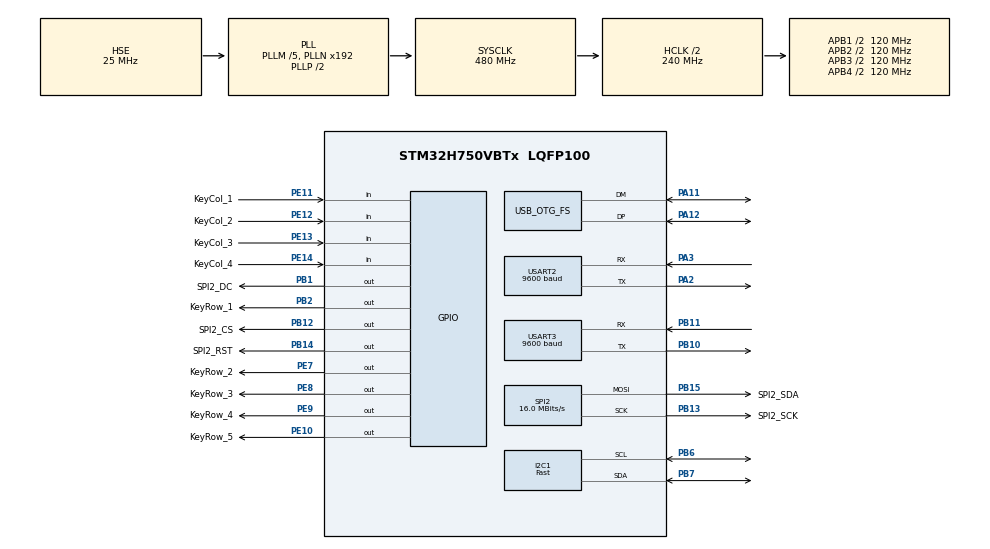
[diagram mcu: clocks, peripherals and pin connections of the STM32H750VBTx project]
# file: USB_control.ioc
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CORTEX_M7.default_mode_Activation=1
Dma.Request0=USART2_RX
Dma.Request1=USART2_TX
Dma.Request2=USART3_RX
Dma.Request3=USART3_TX
Dma.Request4=SPI2_TX
Dma.SPI2_TX.4.Direction=DMA_MEMORY_TO_PERIPH
Dma.SPI2_TX.4.EventEnable=DISABLE
Dma.SPI2_TX.4.FIFOMode=DMA_FIFOMODE_DISABLE
Dma.SPI2_TX.4.Instance=DMA1_Stream5
Dma.SPI2_TX.4.MemDataAlignment=DMA_MDATAALIGN_BYTE
Dma.SPI2_TX.4.MemInc=DMA_MINC_ENABLE
Dma.SPI2_TX.4.Mode=DMA_NORMAL
Dma.SPI2_TX.4.PeriphDataAlignment=DMA_PDATAALIGN_BYTE
Dma.SPI2_TX.4.PeriphInc=DMA_PINC_DISABLE
Dma.SPI2_TX.4.Polarity=HAL_DMAMUX_REQ_GEN_RISING
Dma.SPI2_TX.4.Priority=DMA_PRIORITY_HIGH
Dma.SPI2_TX.4.RequestNumber=1
Dma.SPI2_TX.4.SignalID=NONE
Dma.SPI2_TX.4.SyncEnable=DISABLE
Dma.SPI2_TX.4.SyncPolarity=HAL_DMAMUX_SYNC_NO_EVENT
Dma.SPI2_TX.4.SyncRequestNumber=1
Dma.SPI2_TX.4.SyncSignalID=NONE
Dma.USART2_RX.0.Direction=DMA_PERIPH_TO_MEMORY
Dma.USART2_RX.0.EventEnable=DISABLE
Dma.USART2_RX.0.FIFOMode=DMA_FIFOMODE_DISABLE
Dma.USART2_RX.0.Instance=DMA1_Stream1
Dma.USART2_RX.0.MemDataAlignment=DMA_MDATAALIGN_BYTE
Dma.USART2_RX.0.MemInc=DMA_MINC_ENABLE
Dma.USART2_RX.0.Mode=DMA_CIRCULAR
Dma.USART2_RX.0.PeriphDataAlignment=DMA_PDATAALIGN_BYTE
Dma.USART2_RX.0.PeriphInc=DMA_PINC_DISABLE
Dma.USART2_RX.0.Polarity=HAL_DMAMUX_REQ_GEN_RISING
Dma.USART2_RX.0.Priority=DMA_PRIORITY_HIGH
Dma.USART2_RX.0.RequestNumber=1
Dma.USART2_RX.0.SignalID=NONE
Dma.USART2_RX.0.SyncEnable=DISABLE
Dma.USART2_RX.0.SyncPolarity=HAL_DMAMUX_SYNC_NO_EVENT
Dma.USART2_RX.0.SyncRequestNumber=1
Dma.USART2_RX.0.SyncSignalID=NONE
Dma.USART2_TX.1.Direction=DMA_MEMORY_TO_PERIPH
Dma.USART2_TX.1.EventEnable=DISABLE
Dma.USART2_TX.1.FIFOMode=DMA_FIFOMODE_DISABLE
Dma.USART2_TX.1.Instance=DMA1_Stream2
Dma.USART2_TX.1.MemDataAlignment=DMA_MDATAALIGN_BYTE
Dma.USART2_TX.1.MemInc=DMA_MINC_ENABLE
Dma.USART2_TX.1.Mode=DMA_NORMAL
Dma.USART2_TX.1.PeriphDataAlignment=DMA_PDATAALIGN_BYTE
Dma.USART2_TX.1.PeriphInc=DMA_PINC_DISABLE
Dma.USART2_TX.1.Polarity=HAL_DMAMUX_REQ_GEN_RISING
Dma.USART2_TX.1.Priority=DMA_PRIORITY_HIGH
Dma.USART2_TX.1.RequestNumber=1
Dma.USART2_TX.1.SignalID=NONE
Dma.USART2_TX.1.SyncEnable=DISABLE
Dma.USART2_TX.1.SyncPolarity=HAL_DMAMUX_SYNC_NO_EVENT
Dma.USART2_TX.1.SyncRequestNumber=1
Dma.USART2_TX.1.SyncSignalID=NONE
Dma.USART3_RX.2.Direction=DMA_PERIPH_TO_MEMORY
Dma.USART3_RX.2.EventEnable=DISABLE
Dma.USART3_RX.2.FIFOMode=DMA_FIFOMODE_DISABLE
Dma.USART3_RX.2.Instance=DMA1_Stream3
Dma.USART3_RX.2.MemDataAlignment=DMA_MDATAALIGN_BYTE
Dma.USART3_RX.2.MemInc=DMA_MINC_ENABLE
Dma.USART3_RX.2.Mode=DMA_CIRCULAR
Dma.USART3_RX.2.PeriphDataAlignment=DMA_PDATAALIGN_BYTE
Dma.USART3_RX.2.PeriphInc=DMA_PINC_DISABLE
Dma.USART3_RX.2.Polarity=HAL_DMAMUX_REQ_GEN_RISING
Dma.USART3_RX.2.Priority=DMA_PRIORITY_HIGH
Dma.USART3_RX.2.RequestNumber=1
Dma.USART3_RX.2.SignalID=NONE
Dma.USART3_RX.2.SyncEnable=DISABLE
Dma.USART3_RX.2.SyncPolarity=HAL_DMAMUX_SYNC_NO_EVENT
Dma.USART3_RX.2.SyncRequestNumber=1
Dma.USART3_RX.2.SyncSignalID=NONE
Dma.USART3_TX.3.Direction=DMA_MEMORY_TO_PERIPH
Dma.USART3_TX.3.EventEnable=DISABLE
Dma.USART3_TX.3.FIFOMode=DMA_FIFOMODE_DISABLE
Dma.USART3_TX.3.Instance=DMA1_Stream4
Dma.USART3_TX.3.MemDataAlignment=DMA_MDATAALIGN_BYTE
Dma.USART3_TX.3.MemInc=DMA_MINC_ENABLE
Dma.USART3_TX.3.Mode=DMA_NORMAL
Dma.USART3_TX.3.PeriphDataAlignment=DMA_PDATAALIGN_BYTE
Dma.USART3_TX.3.PeriphInc=DMA_PINC_DISABLE
Dma.USART3_TX.3.Polarity=HAL_DMAMUX_REQ_GEN_RISING
Dma.USART3_TX.3.Priority=DMA_PRIORITY_HIGH
Dma.USART3_TX.3.RequestNumber=1
Dma.USART3_TX.3.SignalID=NONE
Dma.USART3_TX.3.SyncEnable=DISABLE
Dma.USART3_TX.3.SyncPolarity=HAL_DMAMUX_SYNC_NO_EVENT
Dma.USART3_TX.3.SyncRequestNumber=1
Dma.USART3_TX.3.SyncSignalID=NONE
I2C1.I2C_Speed_Mode=I2C_Fast
I2C1.Timing=0x00B03FDB
Mcu.Family=STM32H7
Mcu.Name=STM32H750VBTx
Mcu.Package=LQFP100
NVIC.DMA1_Stream1_IRQn=true\:2\:0\:true\:false\:true\:false\:true\:true
NVIC.DMA1_Stream2_IRQn=true\:2\:0\:true\:false\:true\:false\:true\:true
NVIC.DMA1_Stream3_IRQn=true\:2\:0\:true\:false\:true\:false\:true\:true
NVIC.DMA1_Stream4_IRQn=true\:2\:0\:true\:false\:true\:false\:true\:true
NVIC.DMA1_Stream5_IRQn=true\:2\:0\:true\:false\:true\:false\:true\:true
NVIC.I2C1_ER_IRQn=true\:12\:0\:true\:false\:true\:true\:true\:true
NVIC.I2C1_EV_IRQn=true\:12\:0\:true\:false\:true\:true\:true\:true
NVIC.OTG_FS_EP1_IN_IRQn=true\:5\:0\:true\:false\:true\:true\:true\:true
NVIC.OTG_FS_EP1_OUT_IRQn=true\:5\:0\:true\:false\:true\:true\:true\:true
NVIC.OTG_FS_IRQn=true\:5\:0\:true\:false\:true\:false\:true\:true
NVIC.PriorityGroup=NVIC_PRIORITYGROUP_4
NVIC.SPI2_IRQn=true\:2\:0\:true\:false\:true\:true\:true\:true
NVIC.TIM2_IRQn=true\:10\:0\:true\:false\:true\:true\:true\:true
NVIC.TIM3_IRQn=true\:1\:0\:true\:false\:true\:true\:true\:true
NVIC.USART2_IRQn=true\:2\:0\:true\:false\:true\:true\:true\:true
NVIC.USART3_IRQn=true\:2\:0\:true\:false\:true\:true\:true\:true
PA11.GPIO_Speed=GPIO_SPEED_FREQ_HIGH
PA11.Mode=Device_Only
PA11.Signal=USB_OTG_FS_DM
PA12.GPIO_Speed=GPIO_SPEED_FREQ_HIGH
PA12.Mode=Device_Only
PA12.Signal=USB_OTG_FS_DP
PA13\ (JTMS/SWDIO).Mode=Serial_Wire
PA13\ (JTMS/SWDIO).Signal=DEBUG_JTMS-SWDIO
PA14\ (JTCK/SWCLK).Mode=Serial_Wire
PA14\ (JTCK/SWCLK).Signal=DEBUG_JTCK-SWCLK
PA2.GPIO_Speed=GPIO_SPEED_FREQ_HIGH
PA2.Mode=Asynchronous
PA2.Signal=USART2_TX
PA3.GPIO_Speed=GPIO_SPEED_FREQ_HIGH
PA3.Mode=Asynchronous
PA3.Signal=USART2_RX
PB1.GPIO_Label=SPI2_DC
PB1.GPIO_Speed=GPIO_SPEED_FREQ_HIGH
PB1.Signal=GPIO_Output
PB10.GPIO_Speed=GPIO_SPEED_FREQ_HIGH
PB10.Mode=Asynchronous
PB10.Signal=USART3_TX
PB11.GPIO_Speed=GPIO_SPEED_FREQ_HIGH
PB11.Mode=Asynchronous
PB11.Signal=USART3_RX
PB12.GPIO_Label=SPI2_CS
PB12.GPIO_Speed=GPIO_SPEED_FREQ_HIGH
PB12.Signal=GPIO_Output
PB13.GPIO_Label=SPI2_SCK
PB13.GPIO_Speed=GPIO_SPEED_FREQ_HIGH
PB13.Mode=TX_Only_Simplex_Unidirect_Master
PB13.Signal=SPI2_SCK
PB14.GPIO_Label=SPI2_RST
PB14.GPIO_Speed=GPIO_SPEED_FREQ_HIGH
PB14.Signal=GPIO_Output
PB15.GPIO_Label=SPI2_SDA
PB15.GPIO_Speed=GPIO_SPEED_FREQ_HIGH
PB15.Mode=TX_Only_Simplex_Unidirect_Master
PB15.Signal=SPI2_MOSI
PB2.GPIO_Label=KeyRow_1
PB2.GPIO_Speed=GPIO_SPEED_FREQ_HIGH
PB2.PinState=GPIO_PIN_SET
PB2.Signal=GPIO_Output
PB6.GPIO_Speed=GPIO_SPEED_FREQ_HIGH
PB6.Mode=I2C
PB6.Signal=I2C1_SCL
PB7.GPIO_Speed=GPIO_SPEED_FREQ_HIGH
PB7.Mode=I2C
PB7.Signal=I2C1_SDA
PC14-OSC32_IN\ (OSC32_IN).Mode=LSE-External-Oscillator
PC14-OSC32_IN\ (OSC32_IN).Signal=RCC_OSC32_IN
PC15-OSC32_OUT\ (OSC32_OUT).Mode=LSE-External-Oscillator
PC15-OSC32_OUT\ (OSC32_OUT).Signal=RCC_OSC32_OUT
PE10.GPIO_Label=KeyRow_5
PE10.GPIO_Speed=GPIO_SPEED_FREQ_HIGH
PE10.PinState=GPIO_PIN_SET
PE10.Signal=GPIO_Output
PE11.GPIO_Label=KeyCol_1
PE11.GPIO_PuPd=GPIO_PULLUP
PE11.Signal=GPIO_Input
PE12.GPIO_Label=KeyCol_2
PE12.GPIO_PuPd=GPIO_PULLUP
PE12.Signal=GPIO_Input
PE13.GPIO_Label=KeyCol_3
PE13.GPIO_PuPd=GPIO_PULLUP
PE13.Signal=GPIO_Input
PE14.GPIO_Label=KeyCol_4
PE14.GPIO_PuPd=GPIO_PULLUP
PE14.Signal=GPIO_Input
PE7.GPIO_Label=KeyRow_2
PE7.GPIO_Speed=GPIO_SPEED_FREQ_HIGH
PE7.PinState=GPIO_PIN_SET
PE7.Signal=GPIO_Output
PE8.GPIO_Label=KeyRow_3
PE8.GPIO_Speed=GPIO_SPEED_FREQ_HIGH
PE8.PinState=GPIO_PIN_SET
PE8.Signal=GPIO_Output
PE9.GPIO_Label=KeyRow_4
PE9.GPIO_Speed=GPIO_SPEED_FREQ_HIGH
PE9.PinState=GPIO_PIN_SET
PE9.Signal=GPIO_Output
PH0-OSC_IN\ (PH0).Mode=HSE-External-Oscillator
PH0-OSC_IN\ (PH0).Signal=RCC_OSC_IN
PH1-OSC_OUT\ (PH1).Mode=HSE-External-Oscillator
PH1-OSC_OUT\ (PH1).Signal=RCC_OSC_OUT
ProjectManager.HeapSize=0x1000
ProjectManager.StackSize=0x1000
ProjectManager.TargetToolchain=STM32CubeIDE
RCC.ADCFreq_Value=50390625
RCC.APB1Freq_Value=120000000
RCC.APB2Freq_Value=120000000
RCC.APB3Freq_Value=120000000
RCC.APB4Freq_Value=120000000
RCC.CortexFreq_Value=480000000
RCC.D1PPRE=RCC_APB3_DIV2
RCC.D2PPRE1=RCC_APB1_DIV2
RCC.D2PPRE2=RCC_APB2_DIV2
RCC.D3PPRE=RCC_APB4_DIV2
RCC.DIVM1=5
RCC.DIVN1=192
RCC.DIVQ1=15
RCC.HCLKFreq_Value=240000000
RCC.HPRE=RCC_HCLK_DIV2
RCC.PLL1_VCI_Range=RCC_PLL1VCIRANGE_3
RCC.PLL2FRACN=0
RCC.PLL3FRACN=0
RCC.PLLFRACN=0
RCC.PLLSourceVirtual=RCC_PLLSOURCE_HSE
RCC.SYSCLKFreq_VALUE=480000000
RCC.SYSCLKSource=RCC_SYSCLKSOURCE_PLLCLK
RCC.USBCLockSelection=RCC_USBCLKSOURCE_HSI48
RCC.USBFreq_Value=48000000
SPI2.BaudRatePrescaler=SPI_BAUDRATEPRESCALER_4
SPI2.CalculateBaudRate=16.0 MBits/s
SPI2.Direction=SPI_DIRECTION_2LINES_TXONLY
SPI2.Mode=SPI_MODE_MASTER
SPI2.VirtualType=VM_MASTER
TIM2.AutoReloadPreload=TIM_AUTORELOAD_PRELOAD_ENABLE
TIM2.Period=499
TIM2.Prescaler=4799
TIM3.AutoReloadPreload=TIM_AUTORELOAD_PRELOAD_ENABLE
TIM3.Period=499
TIM3.Prescaler=479
USART2.BaudRate=9600
USART2.VirtualMode-Asynchronous=VM_ASYNC
USART3.BaudRate=9600
USART3.VirtualMode-Asynchronous=VM_ASYNC
USB_DEVICE.CLASS_NAME_FS=CDC
USB_DEVICE.VirtualMode-CDC_FS=Cdc
USB_DEVICE.VirtualModeFS=Cdc_FS
USB_OTG_FS.VirtualMode=Device_Only
VP_MEMORYMAP_VS_MEMORYMAP.Mode=CurAppReg
VP_TIM2_VS_ClockSourceINT.Mode=Internal
VP_TIM3_VS_ClockSourceINT.Mode=Internal
VP_USB_DEVICE_VS_USB_DEVICE_CDC_FS.Mode=CDC_FS
board=custom

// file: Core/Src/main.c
/* USER CODE BEGIN Header */
/**
 ******************************************************************************
 * @file           : main.c
 * @brief          : Main program body
 ******************************************************************************
 */
/* USER CODE END Header */
#include "main.h"
#include "usb_device.h"

/* USER CODE BEGIN Includes */
#include "ssd1309.h"
#include "keyboard.h"
#include "usbd_cdc_if.h"
#include <stdio.h>
#include <string.h>
#include "gkl_link.h"
#include "cdc_logger.h"

#include "app.h"

/* USER CODE END Includes */

I2C_HandleTypeDef hi2c1;

SPI_HandleTypeDef hspi2;
DMA_HandleTypeDef hdma_spi2_tx;

TIM_HandleTypeDef htim2;
TIM_HandleTypeDef htim3;

UART_HandleTypeDef huart2;
UART_HandleTypeDef huart3;
DMA_HandleTypeDef hdma_usart2_rx;
DMA_HandleTypeDef hdma_usart2_tx;
DMA_HandleTypeDef hdma_usart3_rx;
DMA_HandleTypeDef hdma_usart3_tx;

/* USER CODE BEGIN PV */
uint32_t last_alive_tick = 0;
char msg_buf[128];

/* Debug heartbeat in log (disable by default to reduce noise) */
#ifndef SYS_UPTIME_LOG_ENABLE
#define SYS_UPTIME_LOG_ENABLE   (0u)
#endif
/* USER CODE END PV */

void SystemClock_Config(void);
static void MPU_Config(void);
static void MX_GPIO_Init(void);
static void MX_DMA_Init(void);
static void MX_I2C1_Init(void);
static void MX_SPI2_Init(void);
static void MX_TIM2_Init(void);
static void MX_TIM3_Init(void);
static void MX_USART2_UART_Init(void);
static void MX_USART3_UART_Init(void);
/* USER CODE BEGIN PFP */
void System_Log(const char *message);
/* USER CODE END PFP */

/* USER CODE BEGIN 0 */
/**
 * @brief Коллбэк таймера для сканирования клавиатуры
 */
void HAL_TIM_PeriodElapsedCallback(TIM_HandleTypeDef *htim) {
	if (htim->Instance == TIM3) {
		KEYBOARD_Scan_Process();
	}
}

/**
 * @brief Логирование только по USB CDC (через очередь, без потерь и без блокировок CPU)
 */
void System_Log(const char *message) {
	CDC_LOG_Push(message);
}

/**
 * @brief UART TX complete callback
 * @note  USART2/USART3 используются для связи с ТРК (GKL или другой протокол в будущем).
 */
void HAL_UART_TxCpltCallback(UART_HandleTypeDef *huart) {
	/* Forward to GasKitLink driver dispatcher (supports multiple UART links) */
	GKL_Global_UART_TxCpltCallback(huart);
}

/**
 * @brief UART RX complete callback
 */
void HAL_UART_RxCpltCallback(UART_HandleTypeDef *huart) {
	/* Forward to GasKitLink driver dispatcher (supports multiple UART links) */
	GKL_Global_UART_RxCpltCallback(huart);
}

/**
 * @brief UART error callback
 */
void HAL_UART_ErrorCallback(UART_HandleTypeDef *huart) {
	/* Forward to GasKitLink driver dispatcher (supports multiple UART links) */
	GKL_Global_UART_ErrorCallback(huart);
}
/* USER CODE END 0 */

int main(void) {
	/* Настройка MPU для корректной работы памяти */
	MPU_Config();

	/* Включение кэшей для производительности H7 */
	SCB_EnableICache();
	SCB_EnableDCache();

	/* Сброс всей периферии, инициализация Flash интерфейса и Systick. */
	HAL_Init();

	/* Настройка тактирования системы */
	SystemClock_Config();

	/* Инициализация всей сконфигурированной периферии */
	MX_GPIO_Init();
	MX_DMA_Init();
	MX_I2C1_Init();
	MX_SPI2_Init();
	MX_TIM2_Init();
	MX_TIM3_Init();
	MX_USART2_UART_Init();
	MX_USART3_UART_Init();
	MX_USB_DEVICE_Init();

	/* USER CODE BEGIN 2 */
	CDC_LOG_Init();
	HAL_Delay(500);
	System_Log(">>> System Booting...\r\n");

	/* Аппаратный сброс дисплея с использованием новых меток из main.h */
	HAL_GPIO_WritePin(SPI2_RST_GPIO_Port, SPI2_RST_Pin, GPIO_PIN_RESET);
	HAL_Delay(100);
	HAL_GPIO_WritePin(SPI2_RST_GPIO_Port, SPI2_RST_Pin, GPIO_PIN_SET);
	HAL_Delay(200);

	/* Инициализация SSD1309 */
	SSD1309_Init();

	/* Очистка экрана от мусора (белого шума) */
	SSD1309_Fill(0);
	SSD1309_UpdateScreen();
	HAL_Delay(100);

	/* Инициализация модуля клавиатуры */
	KEYBOARD_Init();

	/* Вывод приветственного сообщения */
	SSD1309_SetCursor(30, 10);
	SSD1309_WriteString("H750 CONTROL", 1);
	SSD1309_SetCursor(30, 30);
	SSD1309_WriteString("STATUS: READY", 1);

	SSD1309_UpdateScreen();

	System_Log(">>> Display Initialized. Starting Timers.\r\n");

	/* Запуск таймера сканирования клавиатуры (прерывания) */
	HAL_TIM_Base_Start_IT(&htim3);

	/* Application init (protocol plugins + UI + managers)
	 NOTE: USART2/USART3 are reserved for TRK links (no USART2 logging). */
	APP_Init(&huart2, &huart3, &hi2c1);
	/* USER CODE END 2 */

	/* Infinite loop */
	/* USER CODE BEGIN WHILE */
	/* USER CODE BEGIN WHILE */
	while (1) {
	    /* Run application (USB logging, protocol plugins, UI, managers) */
	    APP_Task();

	    /* КРИТИЧЕСКИ ВАЖНО: Отправка CDC логов в USB! */
	    CDC_LOG_Task();

	    /* Heartbeat log is optional (disabled by default) */
	#if (SYS_UPTIME_LOG_ENABLE)
	    if (HAL_GetTick() - last_alive_tick >= 5000u) {
	        last_alive_tick = HAL_GetTick();
	        snprintf(msg_buf, sizeof(msg_buf), "SYS: Uptime %lu sec\r\n", (unsigned long)(last_alive_tick/1000u));
	        System_Log(msg_buf);
	    }
	#endif
	    /* USER CODE END WHILE */

	}
}

void SystemClock_Config(void) {
	RCC_OscInitTypeDef RCC_OscInitStruct = { 0 };
	RCC_ClkInitTypeDef RCC_ClkInitStruct = { 0 };

	/** Supply configuration update enable
	 */
	HAL_PWREx_ConfigSupply(PWR_LDO_SUPPLY);

	/** Configure the main internal regulator output voltage
	 */
	__HAL_PWR_VOLTAGESCALING_CONFIG(PWR_REGULATOR_VOLTAGE_SCALE0);

	while (!__HAL_PWR_GET_FLAG(PWR_FLAG_VOSRDY)) {
	}

	/** Initializes the RCC Oscillators according to the specified parameters
	 * in the RCC_OscInitTypeDef structure.
	 */
	RCC_OscInitStruct.OscillatorType = RCC_OSCILLATORTYPE_HSE
			| RCC_OSCILLATORTYPE_HSI48;
	RCC_OscInitStruct.HSEState = RCC_HSE_ON;
	RCC_OscInitStruct.HSI48State = RCC_HSI48_ON;
	RCC_OscInitStruct.PLL.PLLState = RCC_PLL_ON;
	RCC_OscInitStruct.PLL.PLLSource = RCC_PLLSOURCE_HSE;
	RCC_OscInitStruct.PLL.PLLM = 5;
	RCC_OscInitStruct.PLL.PLLN = 192;
	RCC_OscInitStruct.PLL.PLLP = 2;
	RCC_OscInitStruct.PLL.PLLQ = 15;
	RCC_OscInitStruct.PLL.PLLR = 2;
	RCC_OscInitStruct.PLL.PLLRGE = RCC_PLL1VCIRANGE_2;
	RCC_OscInitStruct.PLL.PLLVCOSEL = RCC_PLL1VCOWIDE;
	RCC_OscInitStruct.PLL.PLLFRACN = 0;
	if (HAL_RCC_OscConfig(&RCC_OscInitStruct) != HAL_OK) {
		Error_Handler();
	}

	/** Initializes the CPU, AHB and APB buses clocks
	 */
	RCC_ClkInitStruct.ClockType = RCC_CLOCKTYPE_HCLK | RCC_CLOCKTYPE_SYSCLK
			| RCC_CLOCKTYPE_PCLK1 | RCC_CLOCKTYPE_PCLK2 | RCC_CLOCKTYPE_D3PCLK1
			| RCC_CLOCKTYPE_D1PCLK1;
	RCC_ClkInitStruct.SYSCLKSource = RCC_SYSCLKSOURCE_PLLCLK;
	RCC_ClkInitStruct.SYSCLKDivider = RCC_SYSCLK_DIV1;
	RCC_ClkInitStruct.AHBCLKDivider = RCC_HCLK_DIV2;
	RCC_ClkInitStruct.APB3CLKDivider = RCC_APB3_DIV2;
	RCC_ClkInitStruct.APB1CLKDivider = RCC_APB1_DIV2;
	RCC_ClkInitStruct.APB2CLKDivider = RCC_APB2_DIV2;
	RCC_ClkInitStruct.APB4CLKDivider = RCC_APB4_DIV2;

	if (HAL_RCC_ClockConfig(&RCC_ClkInitStruct, FLASH_LATENCY_4) != HAL_OK) {
		Error_Handler();
	}
}

static void MX_I2C1_Init(void) {
	hi2c1.Instance = I2C1;
	hi2c1.Init.Timing = 0x00B03FDB;
	hi2c1.Init.OwnAddress1 = 0;
	hi2c1.Init.AddressingMode = I2C_ADDRESSINGMODE_7BIT;
	hi2c1.Init.DualAddressMode = I2C_DUALADDRESS_DISABLE;
	hi2c1.Init.OwnAddress2 = 0;
	hi2c1.Init.OwnAddress2Masks = I2C_OA2_NOMASK;
	hi2c1.Init.GeneralCallMode = I2C_GENERALCALL_DISABLE;
	hi2c1.Init.NoStretchMode = I2C_NOSTRETCH_DISABLE;
	if (HAL_I2C_Init(&hi2c1) != HAL_OK) {
		Error_Handler();
	}
}

static void MX_SPI2_Init(void) {
	/* SPI2 parameter configuration*/
	hspi2.Instance = SPI2;
	hspi2.Init.Mode = SPI_MODE_MASTER;
	hspi2.Init.Direction = SPI_DIRECTION_2LINES_TXONLY;
	hspi2.Init.DataSize = SPI_DATASIZE_8BIT;
	hspi2.Init.CLKPolarity = SPI_POLARITY_LOW;
	hspi2.Init.CLKPhase = SPI_PHASE_1EDGE;
	hspi2.Init.NSS = SPI_NSS_SOFT;
	/* Установлен делитель 32 для предотвращения ошибок на OLED дисплее */
	hspi2.Init.BaudRatePrescaler = SPI_BAUDRATEPRESCALER_32;
	hspi2.Init.FirstBit = SPI_FIRSTBIT_MSB;
	hspi2.Init.TIMode = SPI_TIMODE_DISABLE;
	hspi2.Init.CRCCalculation = SPI_CRCCALCULATION_DISABLE;
	hspi2.Init.CRCPolynomial = 0x0;
	hspi2.Init.NSSPMode = SPI_NSS_PULSE_ENABLE;
	hspi2.Init.NSSPolarity = SPI_NSS_POLARITY_LOW;
	hspi2.Init.FifoThreshold = SPI_FIFO_THRESHOLD_01DATA;
	hspi2.Init.TxCRCInitializationPattern =
			SPI_CRC_INITIALIZATION_ALL_ZERO_PATTERN;
	hspi2.Init.RxCRCInitializationPattern =
			SPI_CRC_INITIALIZATION_ALL_ZERO_PATTERN;
	hspi2.Init.MasterSSIdleness = SPI_MASTER_SS_IDLENESS_00CYCLE;
	hspi2.Init.MasterInterDataIdleness = SPI_MASTER_INTERDATA_IDLENESS_00CYCLE;
	hspi2.Init.MasterReceiverAutoSusp = SPI_MASTER_RX_AUTOSUSP_DISABLE;
	hspi2.Init.MasterKeepIOState = SPI_MASTER_KEEP_IO_STATE_DISABLE;
	hspi2.Init.IOSwap = SPI_IO_SWAP_DISABLE;
	if (HAL_SPI_Init(&hspi2) != HAL_OK) {
		Error_Handler();
	}
}

static void MX_TIM2_Init(void) {
	TIM_ClockConfigTypeDef sClockSourceConfig = { 0 };
	TIM_MasterConfigTypeDef sMasterConfig = { 0 };

	htim2.Instance = TIM2;
	htim2.Init.Prescaler = 4799;
	htim2.Init.CounterMode = TIM_COUNTERMODE_UP;
	htim2.Init.Period = 499;
	htim2.Init.ClockDivision = TIM_CLOCKDIVISION_DIV1;
	htim2.Init.AutoReloadPreload = TIM_AUTORELOAD_PRELOAD_ENABLE;
	if (HAL_TIM_Base_Init(&htim2) != HAL_OK) {
		Error_Handler();
	}
	sClockSourceConfig.ClockSource = TIM_CLOCKSOURCE_INTERNAL;
	if (HAL_TIM_ConfigClockSource(&htim2, &sClockSourceConfig) != HAL_OK) {
		Error_Handler();
	}
	sMasterConfig.MasterOutputTrigger = TIM_TRGO_RESET;
	sMasterConfig.MasterSlaveMode = TIM_MASTERSLAVEMODE_DISABLE;
	if (HAL_TIMEx_MasterConfigSynchronization(&htim2, &sMasterConfig)
			!= HAL_OK) {
		Error_Handler();
	}
}

static void MX_TIM3_Init(void) {
	TIM_ClockConfigTypeDef sClockSourceConfig = { 0 };
	TIM_MasterConfigTypeDef sMasterConfig = { 0 };

	htim3.Instance = TIM3;
	htim3.Init.Prescaler = 479;
	htim3.Init.CounterMode = TIM_COUNTERMODE_UP;
	htim3.Init.Period = 499;
	htim3.Init.ClockDivision = TIM_CLOCKDIVISION_DIV1;
	htim3.Init.AutoReloadPreload = TIM_AUTORELOAD_PRELOAD_ENABLE;
	if (HAL_TIM_Base_Init(&htim3) != HAL_OK) {
		Error_Handler();
	}
	sClockSourceConfig.ClockSource = TIM_CLOCKSOURCE_INTERNAL;
	if (HAL_TIM_ConfigClockSource(&htim3, &sClockSourceConfig) != HAL_OK) {
		Error_Handler();
	}
	sMasterConfig.MasterOutputTrigger = TIM_TRGO_RESET;
	sMasterConfig.MasterSlaveMode = TIM_MASTERSLAVEMODE_DISABLE;
	if (HAL_TIMEx_MasterConfigSynchronization(&htim3, &sMasterConfig)
			!= HAL_OK) {
		Error_Handler();
	}
}

static void MX_USART2_UART_Init(void) {
	huart2.Instance = USART2;
	huart2.Init.BaudRate = 9600;
	huart2.Init.WordLength = UART_WORDLENGTH_8B;
	huart2.Init.StopBits = UART_STOPBITS_1;
	huart2.Init.Parity = UART_PARITY_NONE;
	huart2.Init.Mode = UART_MODE_TX_RX;
	huart2.Init.HwFlowCtl = UART_HWCONTROL_NONE;
	huart2.Init.OverSampling = UART_OVERSAMPLING_16;
	huart2.Init.OneBitSampling = UART_ONE_BIT_SAMPLE_DISABLE;
	huart2.Init.ClockPrescaler = UART_PRESCALER_DIV1;
	huart2.AdvancedInit.AdvFeatureInit = UART_ADVFEATURE_NO_INIT;
	if (HAL_UART_Init(&huart2) != HAL_OK) {
		Error_Handler();
	}
}

static void MX_USART3_UART_Init(void) {
	huart3.Instance = USART3;
	huart3.Init.BaudRate = 9600;
	huart3.Init.WordLength = UART_WORDLENGTH_8B;
	huart3.Init.StopBits = UART_STOPBITS_1;
	huart3.Init.Parity = UART_PARITY_NONE;
	huart3.Init.Mode = UART_MODE_TX_RX;
	huart3.Init.HwFlowCtl = UART_HWCONTROL_NONE;
	huart3.Init.OverSampling = UART_OVERSAMPLING_16;
	huart3.Init.OneBitSampling = UART_ONE_BIT_SAMPLE_DISABLE;
	huart3.Init.ClockPrescaler = UART_PRESCALER_DIV1;
	huart3.AdvancedInit.AdvFeatureInit = UART_ADVFEATURE_NO_INIT;
	if (HAL_UART_Init(&huart3) != HAL_OK) {
		Error_Handler();
	}
}

static void MX_DMA_Init(void) {
	/* DMA controller clock enable */
	__HAL_RCC_DMA1_CLK_ENABLE();

	/* DMA interrupt init */
	/* DMA1_Stream1_IRQn interrupt configuration (USART2_RX) */
	HAL_NVIC_SetPriority(DMA1_Stream1_IRQn, 2, 0);
	HAL_NVIC_EnableIRQ(DMA1_Stream1_IRQn);
	/* DMA1_Stream2_IRQn interrupt configuration (USART2_TX) */
	HAL_NVIC_SetPriority(DMA1_Stream2_IRQn, 2, 0);
	HAL_NVIC_EnableIRQ(DMA1_Stream2_IRQn);
	/* DMA1_Stream3_IRQn interrupt configuration (USART3_RX) */
	HAL_NVIC_SetPriority(DMA1_Stream3_IRQn, 2, 0);
	HAL_NVIC_EnableIRQ(DMA1_Stream3_IRQn);
	/* DMA1_Stream4_IRQn interrupt configuration (USART3_TX) */
	HAL_NVIC_SetPriority(DMA1_Stream4_IRQn, 2, 0);
	HAL_NVIC_EnableIRQ(DMA1_Stream4_IRQn);
	/* DMA1_Stream5_IRQn interrupt configuration (SPI2_TX) */
	HAL_NVIC_SetPriority(DMA1_Stream5_IRQn, 2, 0);
	HAL_NVIC_EnableIRQ(DMA1_Stream5_IRQn);
}

static void MX_GPIO_Init(void) {
	GPIO_InitTypeDef GPIO_InitStruct = { 0 };

	/* GPIO Ports Clock Enable */
	__HAL_RCC_GPIOH_CLK_ENABLE();
	__HAL_RCC_GPIOC_CLK_ENABLE();
	__HAL_RCC_GPIOA_CLK_ENABLE();
	__HAL_RCC_GPIOB_CLK_ENABLE();
	__HAL_RCC_GPIOE_CLK_ENABLE();

	/* Configure GPIO pin Output Level */
	HAL_GPIO_WritePin(GPIOB,
			SPI2_DC_Pin | KeyRow_1_Pin | SPI2_CS_Pin | SPI2_RST_Pin,
			GPIO_PIN_SET);
	HAL_GPIO_WritePin(GPIOE,
			KeyRow_2_Pin | KeyRow_3_Pin | KeyRow_4_Pin | KeyRow_5_Pin,
			GPIO_PIN_SET);

	/* Configure GPIO pins : SPI2_DC_Pin KeyRow_1_Pin SPI2_CS_Pin SPI2_RST_Pin */
	GPIO_InitStruct.Pin = SPI2_DC_Pin | KeyRow_1_Pin | SPI2_CS_Pin
			| SPI2_RST_Pin;
	GPIO_InitStruct.Mode = GPIO_MODE_OUTPUT_PP;
	GPIO_InitStruct.Pull = GPIO_NOPULL;
	GPIO_InitStruct.Speed = GPIO_SPEED_FREQ_HIGH;
	HAL_GPIO_Init(GPIOB, &GPIO_InitStruct);

	/* Configure GPIO pins : KeyRow_2_Pin KeyRow_3_Pin KeyRow_4_Pin KeyRow_5_Pin */
	GPIO_InitStruct.Pin = KeyRow_2_Pin | KeyRow_3_Pin | KeyRow_4_Pin
			| KeyRow_5_Pin;
	GPIO_InitStruct.Mode = GPIO_MODE_OUTPUT_PP;
	GPIO_InitStruct.Pull = GPIO_NOPULL;
	GPIO_InitStruct.Speed = GPIO_SPEED_FREQ_HIGH;
	HAL_GPIO_Init(GPIOE, &GPIO_InitStruct);

	/* Configure GPIO pins : KeyCol_1_Pin KeyCol_2_Pin KeyCol_3_Pin KeyCol_4_Pin */
	GPIO_InitStruct.Pin = KeyCol_1_Pin | KeyCol_2_Pin | KeyCol_3_Pin
			| KeyCol_4_Pin;
	GPIO_InitStruct.Mode = GPIO_MODE_INPUT;
	GPIO_InitStruct.Pull = GPIO_PULLUP;
	HAL_GPIO_Init(GPIOE, &GPIO_InitStruct);
}

/**
 * @brief MPU Configuration
 */
static void MPU_Config(void) {
	MPU_Region_InitTypeDef MPU_InitStruct = { 0 };

	/* Disables the MPU */
	HAL_MPU_Disable();

	/** Initializes and configures the Region and the memory to be protected
	 */
	MPU_InitStruct.Enable = MPU_REGION_ENABLE;
	MPU_InitStruct.Number = MPU_REGION_NUMBER0;
	MPU_InitStruct.BaseAddress = 0x24000000;
	MPU_InitStruct.Size = MPU_REGION_SIZE_512KB;
	MPU_InitStruct.SubRegionDisable = 0x00;
	MPU_InitStruct.AccessPermission = MPU_REGION_FULL_ACCESS;
	MPU_InitStruct.DisableExec = MPU_INSTRUCTION_ACCESS_ENABLE;
	MPU_InitStruct.IsShareable = MPU_ACCESS_NOT_SHAREABLE;
	MPU_InitStruct.IsCacheable = MPU_ACCESS_CACHEABLE;
	MPU_InitStruct.IsBufferable = MPU_ACCESS_BUFFERABLE;

	HAL_MPU_ConfigRegion(&MPU_InitStruct);
	/* Enables the MPU */
	HAL_MPU_Enable(MPU_PRIVILEGED_DEFAULT);
}

void Error_Handler(void) {
	/* USER CODE BEGIN Error_Handler_Debug */
	__disable_irq();
	while (1) {
		CDC_LOG_Task();

	}
	/* USER CODE END Error_Handler_Debug */
}
